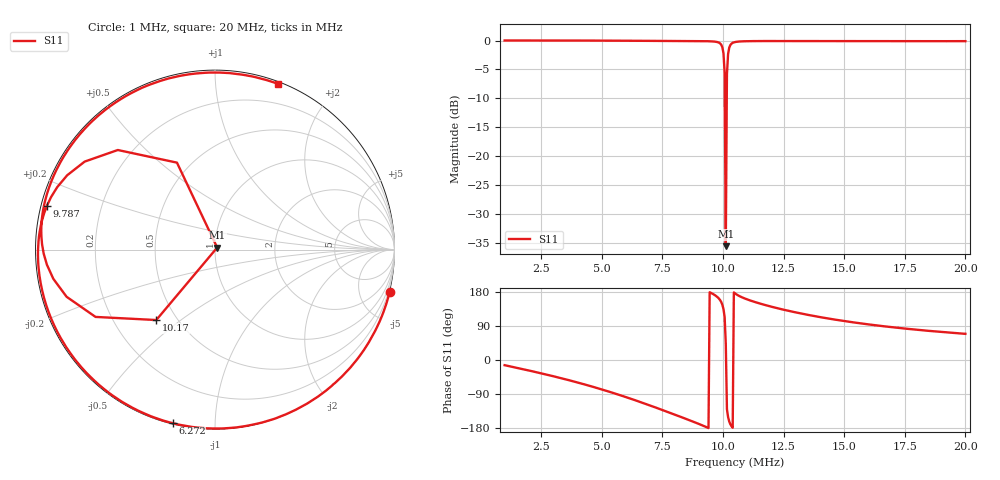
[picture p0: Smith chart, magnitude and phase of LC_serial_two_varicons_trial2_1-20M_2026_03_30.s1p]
# HZ S RI R 50
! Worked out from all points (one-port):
!   401 points, 1 MHz to 20 MHz, reference 50 ohm
!   lowest |S11| = -35.6 dB at 10.12 MHz (marker M1), VSWR 1.03, Z = 51.2 + j1.16 ohm
!   |S11| at or under -10 dB: 10.08 MHz to 10.16 MHz (81.29 kHz wide, 0.803 % of centre)
!   S11 on the Smith chart (normalised r, x): 1 MHz: -0.04, -8.34; 6.272 MHz: 0.00, -0.78; 9.787 MHz: 0.02, +0.13; 10.17 MHz: 0.39, -0.41; 20 MHz: 0.02, +1.45
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1000000  0.9728 -0.2367
2187500  0.8628 -0.507
3375000  0.6587 -0.7508
4705000  0.3098 -0.9492
5750000  -0.0449 -0.9957
6272500  -0.2364 -0.9666
7175000  -0.5575 -0.8218
8125000  -0.829 -0.5434
9122500  -0.9782 -0.1435
9550000  -0.9806 0.0732
9787500  -0.936 0.2451
9882500  -0.8791 0.3479
9977500  -0.7262 0.4902
1.0025e7  -0.5416 0.5549
1.00725e7  -0.212 0.4845
1.012e7  0.0122 0.0113
1.01675e7  -0.3272 -0.3924
1.0215e7  -0.6655 -0.3751
1.02625e7  -0.827 -0.2627
1.03575e7  -0.9365 -0.0843
1.05e7  -0.9671 0.0714
1.08325e7  -0.9475 0.2685
1.1355e7  -0.8757 0.4594
1.2875e7  -0.6011 0.7862
1.39675e7  -0.3964 0.906
1.525e7  -0.1797 0.9709
1.7625e7  0.1344 0.9773
2e7  0.3532 0.9224
